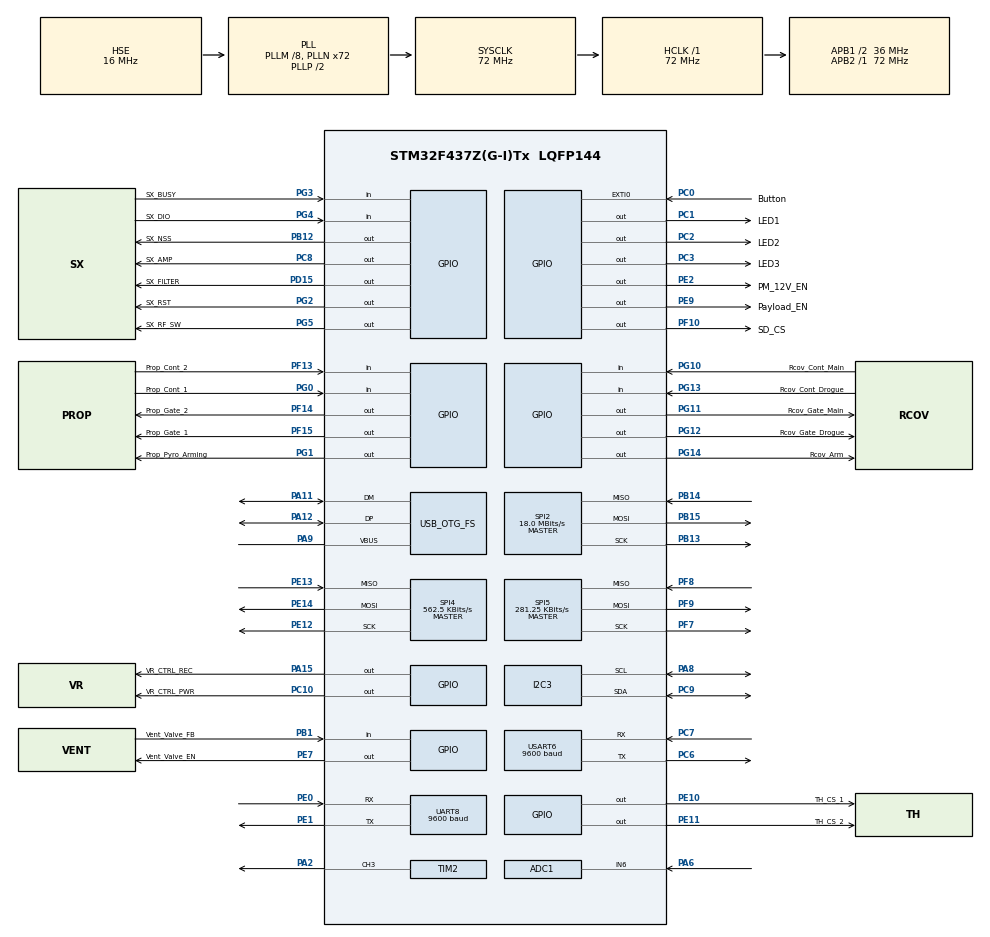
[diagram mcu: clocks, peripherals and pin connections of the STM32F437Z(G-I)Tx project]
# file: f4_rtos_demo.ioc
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ADC1.Channel-0\#ChannelRegularConversion=ADC_CHANNEL_6
ADC1.NbrOfConversionFlag=1
ADC1.Rank-0\#ChannelRegularConversion=1
ADC1.SamplingTime-0\#ChannelRegularConversion=ADC_SAMPLETIME_480CYCLES
ADC1.master=1
FREERTOS.BinarySemaphores01=mutex,Dynamic,NULL
FREERTOS.Tasks01=printSensors,24,1024,printSensorsFunc,Default,NULL,Dynamic,NULL,NULL;pollSensors,24,1024,pollSensorsFunc,Default,NULL,Dynamic,NULL,NULL;saveData,24,1024,saveDataFunc,Default,NULL,Dynamic,NULL,NULL;ejection,40,1024,ejectionFunc,Default,NULL,Dynamic,NULL,NULL;transmitData,24,1024,transmitDataFunc,Default,NULL,Dynamic,NULL,NULL
FREERTOS.configTOTAL_HEAP_SIZE=35000
FREERTOS.configUSE_NEWLIB_REENTRANT=1
Mcu.Family=STM32F4
Mcu.Name=STM32F437Z(G-I)Tx
Mcu.Package=LQFP144
NVIC.EXTI0_IRQn=true\:5\:0\:false\:false\:true\:true\:true\:true
NVIC.OTG_FS_IRQn=true\:5\:0\:false\:false\:true\:true\:false\:true
NVIC.PriorityGroup=NVIC_PRIORITYGROUP_4
NVIC.TIM2_IRQn=true\:5\:0\:false\:false\:true\:true\:true\:true
NVIC.TIM6_DAC_IRQn=true\:15\:0\:false\:false\:true\:false\:false\:true
NVIC.TimeBase=TIM6_DAC_IRQn
NVIC.TimeBaseIP=TIM6
PA11.Mode=Device_Only
PA11.Signal=USB_OTG_FS_DM
PA12.Mode=Device_Only
PA12.Signal=USB_OTG_FS_DP
PA15.GPIO_Label=VR_CTRL_REC
PA15.Signal=GPIO_Output
PA2.Signal=S_TIM2_CH3
PA6.Signal=ADCx_IN6
PA8.Mode=I2C
PA8.Signal=I2C3_SCL
PA9.Mode=Activate_VBUS
PA9.Signal=USB_OTG_FS_VBUS
PB1.GPIO_Label=Vent_Valve_FB
PB1.Signal=GPIO_Input
PB12.GPIO_Label=SX_NSS
PB12.Signal=GPIO_Output
PB13.Mode=Full_Duplex_Master
PB13.Signal=SPI2_SCK
PB14.Mode=Full_Duplex_Master
PB14.Signal=SPI2_MISO
PB15.Mode=Full_Duplex_Master
PB15.Signal=SPI2_MOSI
PC0.GPIO_Label=Button
PC0.Signal=GPXTI0
PC1.GPIO_Label=LED1
PC1.Signal=GPIO_Output
PC10.GPIO_Label=VR_CTRL_PWR
PC10.Signal=GPIO_Output
PC14/OSC32_IN.Mode=LSE-External-Oscillator
PC14/OSC32_IN.Signal=RCC_OSC32_IN
PC15/OSC32_OUT.Mode=LSE-External-Oscillator
PC15/OSC32_OUT.Signal=RCC_OSC32_OUT
PC2.GPIO_Label=LED2
PC2.Signal=GPIO_Output
PC3.GPIO_Label=LED3
PC3.Signal=GPIO_Output
PC6.Mode=Asynchronous
PC6.Signal=USART6_TX
PC7.Mode=Asynchronous
PC7.Signal=USART6_RX
PC8.GPIO_Label=SX_AMP
PC8.Signal=GPIO_Output
PC9.Mode=I2C
PC9.Signal=I2C3_SDA
PD15.GPIO_Label=SX_FILTER
PD15.Signal=GPIO_Output
PE0.Mode=Asynchronous
PE0.Signal=UART8_RX
PE1.Mode=Asynchronous
PE1.Signal=UART8_TX
PE10.GPIO_Label=TH_CS_1
PE10.Signal=GPIO_Output
PE11.GPIO_Label=TH_CS_2
PE11.Signal=GPIO_Output
PE12.Mode=Full_Duplex_Master
PE12.Signal=SPI4_SCK
PE13.Mode=Full_Duplex_Master
PE13.Signal=SPI4_MISO
PE14.Mode=Full_Duplex_Master
PE14.Signal=SPI4_MOSI
PE2.GPIO_Label=PM_12V_EN
PE2.Signal=GPIO_Output
PE7.GPIO_Label=Vent_Valve_EN
PE7.Signal=GPIO_Output
PE9.GPIO_Label=Payload_EN
PE9.Signal=GPIO_Output
PF10.GPIO_Label=SD_CS
PF10.GPIO_PuPd=GPIO_PULLUP
PF10.Signal=GPIO_Output
PF13.GPIO_Label=Prop_Cont_2
PF13.Signal=GPIO_Input
PF14.GPIO_Label=Prop_Gate_2
PF14.Signal=GPIO_Output
PF15.GPIO_Label=Prop_Gate_1
PF15.Signal=GPIO_Output
PF7.GPIO_PuPd=GPIO_PULLUP
PF7.Mode=Full_Duplex_Master
PF7.Signal=SPI5_SCK
PF8.GPIO_PuPd=GPIO_PULLUP
PF8.Mode=Full_Duplex_Master
PF8.Signal=SPI5_MISO
PF9.GPIO_PuPd=GPIO_PULLUP
PF9.Mode=Full_Duplex_Master
PF9.Signal=SPI5_MOSI
PG0.GPIO_Label=Prop_Cont_1
PG0.Signal=GPIO_Input
PG1.GPIO_Label=Prop_Pyro_Arming
PG1.Signal=GPIO_Output
PG10.GPIO_Label=Rcov_Cont_Main
PG10.Signal=GPIO_Input
PG11.GPIO_Label=Rcov_Gate_Main
PG11.Signal=GPIO_Output
PG12.GPIO_Label=Rcov_Gate_Drogue
PG12.Signal=GPIO_Output
PG13.GPIO_Label=Rcov_Cont_Drogue
PG13.Signal=GPIO_Input
PG14.GPIO_Label=Rcov_Arm
PG14.Signal=GPIO_Output
PG2.GPIO_Label=SX_RST
PG2.Signal=GPIO_Output
PG3.GPIO_Label=SX_BUSY
PG3.Signal=GPIO_Input
PG4.GPIO_Label=SX_DIO
PG4.Signal=GPIO_Input
PG5.GPIO_Label=SX_RF_SW
PG5.Signal=GPIO_Output
PH0/OSC_IN.Mode=HSE-External-Oscillator
PH0/OSC_IN.Signal=RCC_OSC_IN
PH1/OSC_OUT.Mode=HSE-External-Oscillator
PH1/OSC_OUT.Signal=RCC_OSC_OUT
ProjectManager.HeapSize=0x200
ProjectManager.StackSize=0x400
ProjectManager.TargetToolchain=STM32CubeIDE
RCC.48MHZClocksFreq_Value=48000000
RCC.AHBFreq_Value=72000000
RCC.APB1CLKDivider=RCC_HCLK_DIV2
RCC.APB1Freq_Value=36000000
RCC.APB1TimFreq_Value=72000000
RCC.APB2Freq_Value=72000000
RCC.APB2TimFreq_Value=72000000
RCC.CortexFreq_Value=72000000
RCC.HCLKFreq_Value=72000000
RCC.HSE_VALUE=16000000
RCC.HSI_VALUE=16000000
RCC.PLLM=8
RCC.PLLN=72
RCC.PLLQ=3
RCC.SYSCLKFreq_VALUE=72000000
RCC.SYSCLKSource=RCC_SYSCLKSOURCE_PLLCLK
RCC.VCOOutputFreq_Value=144000000
SH.ADCx_IN6.0=ADC1_IN6,IN6
SH.S_TIM2_CH3.0=TIM2_CH3,PWM Generation3 CH3
SPI2.CalculateBaudRate=18.0 MBits/s
SPI2.Direction=SPI_DIRECTION_2LINES
SPI2.Mode=SPI_MODE_MASTER
SPI2.VirtualType=VM_MASTER
SPI4.BaudRatePrescaler=SPI_BAUDRATEPRESCALER_128
SPI4.CalculateBaudRate=562.5 KBits/s
SPI4.Direction=SPI_DIRECTION_2LINES
SPI4.Mode=SPI_MODE_MASTER
SPI4.VirtualType=VM_MASTER
SPI5.BaudRatePrescaler=SPI_BAUDRATEPRESCALER_256
SPI5.CalculateBaudRate=281.25 KBits/s
SPI5.Direction=SPI_DIRECTION_2LINES
SPI5.Mode=SPI_MODE_MASTER
SPI5.VirtualType=VM_MASTER
TIM2.Channel-PWM\ Generation3\ CH3=TIM_CHANNEL_3
TIM2.Period=1000
TIM2.Prescaler=50
TIM2.Pulse-PWM\ Generation3\ CH3=100
TIM2.TIM_MasterOutputTrigger=TIM_TRGO_UPDATE
UART8.BaudRate=9600
UART8.VirtualMode=Asynchronous
USART6.BaudRate=9600
USART6.VirtualMode=VM_ASYNC
USB_DEVICE.CLASS_NAME_FS=CDC
USB_DEVICE.VirtualMode-CDC_FS=Cdc
USB_DEVICE.VirtualModeFS=Cdc_FS
USB_OTG_FS.VirtualMode=Device_Only
VP_FATFS_VS_Generic.Mode=User_defined
VP_FREERTOS_VS_CMSIS_V2.Mode=CMSIS_V2
VP_SYS_VS_tim6.Mode=TIM6
VP_TIM2_VS_ClockSourceINT.Mode=Internal
VP_USB_DEVICE_VS_USB_DEVICE_CDC_FS.Mode=CDC_FS
board=custom

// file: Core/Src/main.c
/* USER CODE BEGIN Header */
/**
  ******************************************************************************
  * @file           : main.c
  * @brief          : Main program body
  ******************************************************************************
  * @attention
  *
  * <h2><center>&copy; Copyright (c) 2021 STMicroelectronics.
  * All rights reserved.</center></h2>
  *
  * This software component is licensed by ST under Ultimate Liberty license
  * SLA0044, the "License"; You may not use this file except in compliance with
  * the License. You may obtain a copy of the License at:
  *                             www.st.com/SLA0044
  *
  ******************************************************************************
  */
/* USER CODE END Header */
#include "main.h"
#include "cmsis_os.h"
#include "fatfs.h"
#include "usb_device.h"
#include "usb_device.h"

/* USER CODE BEGIN Includes */
#include "usbd_cdc_if.h"
#include "string.h"
#include "i2c_sensor_functions.h"
#include "sd_card.h"
#include "semphr.h"
#include "gps.h"
#include "MAX31855.h"
#include "sx126x.h"

/* USER CODE END Includes */

/* USER CODE BEGIN PM */
stmdev_ctx_t dev_ctx_lsm;
stmdev_ctx_t dev_ctx_lps;
float acceleration[] = {0, 0, 0};
float angular_rate[]= {0, 0, 0};
float pressure = 0;
float temperature = 0;
double latitude;
double longitude;
float time;
int second = 0;
int minute = 0;

uint8_t tx_buffer[150];

FATFS FatFs; 	//Fatfs handle
FIL fil; 		//File handle
FRESULT fres; //Result after operations
char filename[13];
uint8_t writeBuf[1000];
UINT bytesWrote;
/* USER CODE END PM */

ADC_HandleTypeDef hadc1;

I2C_HandleTypeDef hi2c3;

SPI_HandleTypeDef hspi2;
SPI_HandleTypeDef hspi4;
SPI_HandleTypeDef hspi5;

TIM_HandleTypeDef htim2;

UART_HandleTypeDef huart8;
UART_HandleTypeDef huart6;

/* Definitions for printSensors */
osThreadId_t printSensorsHandle;
const osThreadAttr_t printSensors_attributes = {
  .name = "printSensors",
  .stack_size = 1024 * 4,
  .priority = (osPriority_t) osPriorityNormal,
};
/* Definitions for pollSensors */
osThreadId_t pollSensorsHandle;
const osThreadAttr_t pollSensors_attributes = {
  .name = "pollSensors",
  .stack_size = 1024 * 4,
  .priority = (osPriority_t) osPriorityNormal,
};
/* Definitions for saveData */
osThreadId_t saveDataHandle;
const osThreadAttr_t saveData_attributes = {
  .name = "saveData",
  .stack_size = 1024 * 4,
  .priority = (osPriority_t) osPriorityNormal,
};
/* Definitions for ejection */
osThreadId_t ejectionHandle;
const osThreadAttr_t ejection_attributes = {
  .name = "ejection",
  .stack_size = 1024 * 4,
  .priority = (osPriority_t) osPriorityHigh,
};
/* Definitions for transmitData */
osThreadId_t transmitDataHandle;
const osThreadAttr_t transmitData_attributes = {
  .name = "transmitData",
  .stack_size = 1024 * 4,
  .priority = (osPriority_t) osPriorityNormal,
};
/* Definitions for mutex */
osSemaphoreId_t mutexHandle;
const osSemaphoreAttr_t mutex_attributes = {
  .name = "mutex"
};

void SystemClock_Config(void);
static void MX_GPIO_Init(void);
static void MX_ADC1_Init(void);
static void MX_SPI4_Init(void);
static void MX_TIM2_Init(void);
static void MX_SPI5_Init(void);
static void MX_I2C3_Init(void);
static void MX_USART6_UART_Init(void);
static void MX_UART8_Init(void);
static void MX_SPI2_Init(void);
void printSensorsFunc(void *argument);
void pollSensorsFunc(void *argument);
void saveDataFunc(void *argument);
void ejectionFunc(void *argument);
void transmitDataFunc(void *argument);

/* USER CODE BEGIN PFP */
// LSM6DSR functions
extern stmdev_ctx_t lsm6dsr_init(void);
extern void get_acceleration(stmdev_ctx_t dev_ctx, float *acceleration_mg);
extern void get_angvelocity(stmdev_ctx_t dev_ctx, float *angular_rate_mdps);
// LPS22HH functions
extern stmdev_ctx_t lps22hh_init(void);
extern void get_pressure(stmdev_ctx_t dev_ctx,  float *pressure);
extern void get_temperature(stmdev_ctx_t dev_ctx,  float *temperature);

void GPS_Poll(double*, double*, float*);
/* USER CODE END PFP */

int main(void)
{

  /* MCU Configuration--------------------------------------------------------*/

  /* Reset of all peripherals, Initializes the Flash interface and the Systick. */
  HAL_Init();

  /* Configure the system clock */
  SystemClock_Config();

  /* Initialize all configured peripherals */
  MX_GPIO_Init();
  MX_ADC1_Init();
  MX_SPI4_Init();
  MX_TIM2_Init();
  MX_SPI5_Init();
  MX_FATFS_Init();
  MX_I2C3_Init();
  MX_USART6_UART_Init();
  MX_UART8_Init();
  MX_SPI2_Init();
  /* USER CODE BEGIN 2 */
  // reset LEDs
  HAL_GPIO_WritePin(LED1_GPIO_Port, LED1_Pin, RESET);
  HAL_GPIO_WritePin(LED2_GPIO_Port, LED2_Pin, RESET);
  HAL_GPIO_WritePin(LED3_GPIO_Port, LED3_Pin, RESET);

  // reset recovery pyro pins
  HAL_GPIO_WritePin(Rcov_Arm_GPIO_Port, Rcov_Arm_Pin, RESET);
  HAL_GPIO_WritePin(Rcov_Gate_Drogue_GPIO_Port, Rcov_Gate_Drogue_Pin, RESET);
  HAL_GPIO_WritePin(Rcov_Gate_Main_GPIO_Port, Rcov_Gate_Main_Pin, RESET);

  // reset prop pyro pins
  HAL_GPIO_WritePin(Prop_Pyro_Arming_GPIO_Port, Prop_Pyro_Arming_Pin, RESET);
  HAL_GPIO_WritePin(Prop_Gate_1_GPIO_Port, Prop_Gate_1_Pin, RESET);
  HAL_GPIO_WritePin(Prop_Gate_2_GPIO_Port, Prop_Gate_2_Pin, RESET);

  // reset 12 V buck converter enable pin (disable converter)
  HAL_GPIO_WritePin(PM_12V_EN_GPIO_Port, PM_12V_EN_Pin, RESET);
  HAL_GPIO_WritePin(Vent_Valve_EN_GPIO_Port, Vent_Valve_EN_Pin, RESET);

  // reset payload EN signal
  HAL_GPIO_WritePin(Payload_EN_GPIO_Port, Payload_EN_Pin, RESET);

  // set CS pin for thermocouple chip high
  //	HAL_GPIO_WritePin(TH_CS_1_GPIO_Port, TH_CS_1_Pin, SET);

  // set power off for VR
  HAL_GPIO_WritePin(VR_CTRL_PWR_GPIO_Port, VR_CTRL_PWR_Pin, RESET);
  HAL_GPIO_WritePin(VR_CTRL_REC_GPIO_Port, VR_CTRL_REC_Pin, RESET);

  dev_ctx_lsm = lsm6dsl_init();
  dev_ctx_lps = lps22hh_init();

  //SRAD Radio init
  set_hspi(hspi2);
  set_NSS_pin(SX_NSS_GPIO_Port, SX_NSS_Pin);
  set_BUSY_pin(SX_BUSY_GPIO_Port, SX_BUSY_Pin);
  set_NRESET_pin(SX_RST_GPIO_Port, SX_RST_Pin);
  set_DIO1_pin(SX_DIO_GPIO_Port, SX_DIO_Pin);
  Tx_setup();

  sd_init_dynamic_filename("FC", "", filename);
  /* USER CODE END 2 */

  /* Init scheduler */
  osKernelInitialize();

  /* Create the semaphores(s) */
  /* creation of mutex */
  mutexHandle = osSemaphoreNew(1, 1, &mutex_attributes);

  /* Create the thread(s) */
  /* creation of printSensors */
  printSensorsHandle = osThreadNew(printSensorsFunc, NULL, &printSensors_attributes);

  /* creation of pollSensors */
  pollSensorsHandle = osThreadNew(pollSensorsFunc, NULL, &pollSensors_attributes);

  /* creation of saveData */
  saveDataHandle = osThreadNew(saveDataFunc, NULL, &saveData_attributes);

  /* creation of ejection */
  ejectionHandle = osThreadNew(ejectionFunc, NULL, &ejection_attributes);

  /* creation of transmitData */
  transmitDataHandle = osThreadNew(transmitDataFunc, NULL, &transmitData_attributes);

  /* Start scheduler */
  osKernelStart();

  /* We should never get here as control is now taken by the scheduler */
  /* Infinite loop */
  while (1)
  {

  }
}

void SystemClock_Config(void)
{
  RCC_OscInitTypeDef RCC_OscInitStruct = {0};
  RCC_ClkInitTypeDef RCC_ClkInitStruct = {0};

  /** Configure the main internal regulator output voltage
  */
  __HAL_RCC_PWR_CLK_ENABLE();
  __HAL_PWR_VOLTAGESCALING_CONFIG(PWR_REGULATOR_VOLTAGE_SCALE3);
  /** Initializes the RCC Oscillators according to the specified parameters
  * in the RCC_OscInitTypeDef structure.
  */
  RCC_OscInitStruct.OscillatorType = RCC_OSCILLATORTYPE_HSE;
  RCC_OscInitStruct.HSEState = RCC_HSE_ON;
  RCC_OscInitStruct.PLL.PLLState = RCC_PLL_ON;
  RCC_OscInitStruct.PLL.PLLSource = RCC_PLLSOURCE_HSE;
  RCC_OscInitStruct.PLL.PLLM = 8;
  RCC_OscInitStruct.PLL.PLLN = 72;
  RCC_OscInitStruct.PLL.PLLP = RCC_PLLP_DIV2;
  RCC_OscInitStruct.PLL.PLLQ = 3;
  if (HAL_RCC_OscConfig(&RCC_OscInitStruct) != HAL_OK)
  {
    Error_Handler();
  }
  /** Initializes the CPU, AHB and APB buses clocks
  */
  RCC_ClkInitStruct.ClockType = RCC_CLOCKTYPE_HCLK|RCC_CLOCKTYPE_SYSCLK
                              |RCC_CLOCKTYPE_PCLK1|RCC_CLOCKTYPE_PCLK2;
  RCC_ClkInitStruct.SYSCLKSource = RCC_SYSCLKSOURCE_PLLCLK;
  RCC_ClkInitStruct.AHBCLKDivider = RCC_SYSCLK_DIV1;
  RCC_ClkInitStruct.APB1CLKDivider = RCC_HCLK_DIV2;
  RCC_ClkInitStruct.APB2CLKDivider = RCC_HCLK_DIV1;

  if (HAL_RCC_ClockConfig(&RCC_ClkInitStruct, FLASH_LATENCY_2) != HAL_OK)
  {
    Error_Handler();
  }
}

static void MX_ADC1_Init(void)
{

  ADC_ChannelConfTypeDef sConfig = {0};

  /** Configure the global features of the ADC (Clock, Resolution, Data Alignment and number of conversion)
  */
  hadc1.Instance = ADC1;
  hadc1.Init.ClockPrescaler = ADC_CLOCK_SYNC_PCLK_DIV2;
  hadc1.Init.Resolution = ADC_RESOLUTION_12B;
  hadc1.Init.ScanConvMode = DISABLE;
  hadc1.Init.ContinuousConvMode = DISABLE;
  hadc1.Init.DiscontinuousConvMode = DISABLE;
  hadc1.Init.ExternalTrigConvEdge = ADC_EXTERNALTRIGCONVEDGE_NONE;
  hadc1.Init.ExternalTrigConv = ADC_SOFTWARE_START;
  hadc1.Init.DataAlign = ADC_DATAALIGN_RIGHT;
  hadc1.Init.NbrOfConversion = 1;
  hadc1.Init.DMAContinuousRequests = DISABLE;
  hadc1.Init.EOCSelection = ADC_EOC_SINGLE_CONV;
  if (HAL_ADC_Init(&hadc1) != HAL_OK)
  {
    Error_Handler();
  }
  /** Configure for the selected ADC regular channel its corresponding rank in the sequencer and its sample time.
  */
  sConfig.Channel = ADC_CHANNEL_6;
  sConfig.Rank = 1;
  sConfig.SamplingTime = ADC_SAMPLETIME_480CYCLES;
  if (HAL_ADC_ConfigChannel(&hadc1, &sConfig) != HAL_OK)
  {
    Error_Handler();
  }

}

static void MX_I2C3_Init(void)
{

  hi2c3.Instance = I2C3;
  hi2c3.Init.ClockSpeed = 100000;
  hi2c3.Init.DutyCycle = I2C_DUTYCYCLE_2;
  hi2c3.Init.OwnAddress1 = 0;
  hi2c3.Init.AddressingMode = I2C_ADDRESSINGMODE_7BIT;
  hi2c3.Init.DualAddressMode = I2C_DUALADDRESS_DISABLE;
  hi2c3.Init.OwnAddress2 = 0;
  hi2c3.Init.GeneralCallMode = I2C_GENERALCALL_DISABLE;
  hi2c3.Init.NoStretchMode = I2C_NOSTRETCH_DISABLE;
  if (HAL_I2C_Init(&hi2c3) != HAL_OK)
  {
    Error_Handler();
  }
  /** Configure Analogue filter
  */
  if (HAL_I2CEx_ConfigAnalogFilter(&hi2c3, I2C_ANALOGFILTER_ENABLE) != HAL_OK)
  {
    Error_Handler();
  }
  /** Configure Digital filter
  */
  if (HAL_I2CEx_ConfigDigitalFilter(&hi2c3, 0) != HAL_OK)
  {
    Error_Handler();
  }

}

static void MX_SPI2_Init(void)
{

  /* SPI2 parameter configuration*/
  hspi2.Instance = SPI2;
  hspi2.Init.Mode = SPI_MODE_MASTER;
  hspi2.Init.Direction = SPI_DIRECTION_2LINES;
  hspi2.Init.DataSize = SPI_DATASIZE_8BIT;
  hspi2.Init.CLKPolarity = SPI_POLARITY_LOW;
  hspi2.Init.CLKPhase = SPI_PHASE_1EDGE;
  hspi2.Init.NSS = SPI_NSS_SOFT;
  hspi2.Init.BaudRatePrescaler = SPI_BAUDRATEPRESCALER_2;
  hspi2.Init.FirstBit = SPI_FIRSTBIT_MSB;
  hspi2.Init.TIMode = SPI_TIMODE_DISABLE;
  hspi2.Init.CRCCalculation = SPI_CRCCALCULATION_DISABLE;
  hspi2.Init.CRCPolynomial = 10;
  if (HAL_SPI_Init(&hspi2) != HAL_OK)
  {
    Error_Handler();
  }

}

static void MX_SPI4_Init(void)
{

  /* SPI4 parameter configuration*/
  hspi4.Instance = SPI4;
  hspi4.Init.Mode = SPI_MODE_MASTER;
  hspi4.Init.Direction = SPI_DIRECTION_2LINES;
  hspi4.Init.DataSize = SPI_DATASIZE_8BIT;
  hspi4.Init.CLKPolarity = SPI_POLARITY_LOW;
  hspi4.Init.CLKPhase = SPI_PHASE_1EDGE;
  hspi4.Init.NSS = SPI_NSS_SOFT;
  hspi4.Init.BaudRatePrescaler = SPI_BAUDRATEPRESCALER_128;
  hspi4.Init.FirstBit = SPI_FIRSTBIT_MSB;
  hspi4.Init.TIMode = SPI_TIMODE_DISABLE;
  hspi4.Init.CRCCalculation = SPI_CRCCALCULATION_DISABLE;
  hspi4.Init.CRCPolynomial = 10;
  if (HAL_SPI_Init(&hspi4) != HAL_OK)
  {
    Error_Handler();
  }

}

static void MX_SPI5_Init(void)
{

  /* SPI5 parameter configuration*/
  hspi5.Instance = SPI5;
  hspi5.Init.Mode = SPI_MODE_MASTER;
  hspi5.Init.Direction = SPI_DIRECTION_2LINES;
  hspi5.Init.DataSize = SPI_DATASIZE_8BIT;
  hspi5.Init.CLKPolarity = SPI_POLARITY_LOW;
  hspi5.Init.CLKPhase = SPI_PHASE_1EDGE;
  hspi5.Init.NSS = SPI_NSS_SOFT;
  hspi5.Init.BaudRatePrescaler = SPI_BAUDRATEPRESCALER_256;
  hspi5.Init.FirstBit = SPI_FIRSTBIT_MSB;
  hspi5.Init.TIMode = SPI_TIMODE_DISABLE;
  hspi5.Init.CRCCalculation = SPI_CRCCALCULATION_DISABLE;
  hspi5.Init.CRCPolynomial = 10;
  if (HAL_SPI_Init(&hspi5) != HAL_OK)
  {
    Error_Handler();
  }

}

static void MX_TIM2_Init(void)
{

  TIM_ClockConfigTypeDef sClockSourceConfig = {0};
  TIM_MasterConfigTypeDef sMasterConfig = {0};
  TIM_OC_InitTypeDef sConfigOC = {0};

  htim2.Instance = TIM2;
  htim2.Init.Prescaler = 50;
  htim2.Init.CounterMode = TIM_COUNTERMODE_UP;
  htim2.Init.Period = 1000;
  htim2.Init.ClockDivision = TIM_CLOCKDIVISION_DIV1;
  htim2.Init.AutoReloadPreload = TIM_AUTORELOAD_PRELOAD_DISABLE;
  if (HAL_TIM_Base_Init(&htim2) != HAL_OK)
  {
    Error_Handler();
  }
  sClockSourceConfig.ClockSource = TIM_CLOCKSOURCE_INTERNAL;
  if (HAL_TIM_ConfigClockSource(&htim2, &sClockSourceConfig) != HAL_OK)
  {
    Error_Handler();
  }
  if (HAL_TIM_PWM_Init(&htim2) != HAL_OK)
  {
    Error_Handler();
  }
  sMasterConfig.MasterOutputTrigger = TIM_TRGO_UPDATE;
  sMasterConfig.MasterSlaveMode = TIM_MASTERSLAVEMODE_DISABLE;
  if (HAL_TIMEx_MasterConfigSynchronization(&htim2, &sMasterConfig) != HAL_OK)
  {
    Error_Handler();
  }
  sConfigOC.OCMode = TIM_OCMODE_PWM1;
  sConfigOC.Pulse = 100;
  sConfigOC.OCPolarity = TIM_OCPOLARITY_HIGH;
  sConfigOC.OCFastMode = TIM_OCFAST_DISABLE;
  if (HAL_TIM_PWM_ConfigChannel(&htim2, &sConfigOC, TIM_CHANNEL_3) != HAL_OK)
  {
    Error_Handler();
  }
  HAL_TIM_MspPostInit(&htim2);

}

static void MX_UART8_Init(void)
{

  huart8.Instance = UART8;
  huart8.Init.BaudRate = 9600;
  huart8.Init.WordLength = UART_WORDLENGTH_8B;
  huart8.Init.StopBits = UART_STOPBITS_1;
  huart8.Init.Parity = UART_PARITY_NONE;
  huart8.Init.Mode = UART_MODE_TX_RX;
  huart8.Init.HwFlowCtl = UART_HWCONTROL_NONE;
  huart8.Init.OverSampling = UART_OVERSAMPLING_16;
  if (HAL_UART_Init(&huart8) != HAL_OK)
  {
    Error_Handler();
  }

}

static void MX_USART6_UART_Init(void)
{

  huart6.Instance = USART6;
  huart6.Init.BaudRate = 9600;
  huart6.Init.WordLength = UART_WORDLENGTH_8B;
  huart6.Init.StopBits = UART_STOPBITS_1;
  huart6.Init.Parity = UART_PARITY_NONE;
  huart6.Init.Mode = UART_MODE_TX_RX;
  huart6.Init.HwFlowCtl = UART_HWCONTROL_NONE;
  huart6.Init.OverSampling = UART_OVERSAMPLING_16;
  if (HAL_UART_Init(&huart6) != HAL_OK)
  {
    Error_Handler();
  }

}

static void MX_GPIO_Init(void)
{
  GPIO_InitTypeDef GPIO_InitStruct = {0};

  /* GPIO Ports Clock Enable */
  __HAL_RCC_GPIOE_CLK_ENABLE();
  __HAL_RCC_GPIOC_CLK_ENABLE();
  __HAL_RCC_GPIOF_CLK_ENABLE();
  __HAL_RCC_GPIOH_CLK_ENABLE();
  __HAL_RCC_GPIOA_CLK_ENABLE();
  __HAL_RCC_GPIOB_CLK_ENABLE();
  __HAL_RCC_GPIOG_CLK_ENABLE();
  __HAL_RCC_GPIOD_CLK_ENABLE();

  /*Configure GPIO pin Output Level */
  HAL_GPIO_WritePin(GPIOE, PM_12V_EN_Pin|Vent_Valve_EN_Pin|Payload_EN_Pin|TH_CS_1_Pin
                          |TH_CS_2_Pin, GPIO_PIN_RESET);

  /*Configure GPIO pin Output Level */
  HAL_GPIO_WritePin(GPIOF, SD_CS_Pin|Prop_Gate_2_Pin|Prop_Gate_1_Pin, GPIO_PIN_RESET);

  /*Configure GPIO pin Output Level */
  HAL_GPIO_WritePin(GPIOC, LED1_Pin|LED2_Pin|LED3_Pin|SX_AMP_Pin
                          |VR_CTRL_PWR_Pin, GPIO_PIN_RESET);

  /*Configure GPIO pin Output Level */
  HAL_GPIO_WritePin(GPIOG, Prop_Pyro_Arming_Pin|SX_RST_Pin|SX_RF_SW_Pin|Rcov_Gate_Main_Pin
                          |Rcov_Gate_Drogue_Pin|Rcov_Arm_Pin, GPIO_PIN_RESET);

  /*Configure GPIO pin Output Level */
  HAL_GPIO_WritePin(SX_NSS_GPIO_Port, SX_NSS_Pin, GPIO_PIN_RESET);

  /*Configure GPIO pin Output Level */
  HAL_GPIO_WritePin(SX_FILTER_GPIO_Port, SX_FILTER_Pin, GPIO_PIN_RESET);

  /*Configure GPIO pin Output Level */
  HAL_GPIO_WritePin(VR_CTRL_REC_GPIO_Port, VR_CTRL_REC_Pin, GPIO_PIN_RESET);

  /*Configure GPIO pins : PM_12V_EN_Pin Vent_Valve_EN_Pin Payload_EN_Pin TH_CS_1_Pin
                           TH_CS_2_Pin */
  GPIO_InitStruct.Pin = PM_12V_EN_Pin|Vent_Valve_EN_Pin|Payload_EN_Pin|TH_CS_1_Pin
                          |TH_CS_2_Pin;
  GPIO_InitStruct.Mode = GPIO_MODE_OUTPUT_PP;
  GPIO_InitStruct.Pull = GPIO_NOPULL;
  GPIO_InitStruct.Speed = GPIO_SPEED_FREQ_LOW;
  HAL_GPIO_Init(GPIOE, &GPIO_InitStruct);

  /*Configure GPIO pin : SD_CS_Pin */
  GPIO_InitStruct.Pin = SD_CS_Pin;
  GPIO_InitStruct.Mode = GPIO_MODE_OUTPUT_PP;
  GPIO_InitStruct.Pull = GPIO_PULLUP;
  GPIO_InitStruct.Speed = GPIO_SPEED_FREQ_LOW;
  HAL_GPIO_Init(SD_CS_GPIO_Port, &GPIO_InitStruct);

  /*Configure GPIO pin : Button_Pin */
  GPIO_InitStruct.Pin = Button_Pin;
  GPIO_InitStruct.Mode = GPIO_MODE_IT_RISING;
  GPIO_InitStruct.Pull = GPIO_NOPULL;
  HAL_GPIO_Init(Button_GPIO_Port, &GPIO_InitStruct);

  /*Configure GPIO pins : LED1_Pin LED2_Pin LED3_Pin SX_AMP_Pin
                           VR_CTRL_PWR_Pin */
  GPIO_InitStruct.Pin = LED1_Pin|LED2_Pin|LED3_Pin|SX_AMP_Pin
                          |VR_CTRL_PWR_Pin;
  GPIO_InitStruct.Mode = GPIO_MODE_OUTPUT_PP;
  GPIO_InitStruct.Pull = GPIO_NOPULL;
  GPIO_InitStruct.Speed = GPIO_SPEED_FREQ_LOW;
  HAL_GPIO_Init(GPIOC, &GPIO_InitStruct);

  /*Configure GPIO pin : Vent_Valve_FB_Pin */
  GPIO_InitStruct.Pin = Vent_Valve_FB_Pin;
  GPIO_InitStruct.Mode = GPIO_MODE_INPUT;
  GPIO_InitStruct.Pull = GPIO_NOPULL;
  HAL_GPIO_Init(Vent_Valve_FB_GPIO_Port, &GPIO_InitStruct);

  /*Configure GPIO pin : Prop_Cont_2_Pin */
  GPIO_InitStruct.Pin = Prop_Cont_2_Pin;
  GPIO_InitStruct.Mode = GPIO_MODE_INPUT;
  GPIO_InitStruct.Pull = GPIO_NOPULL;
  HAL_GPIO_Init(Prop_Cont_2_GPIO_Port, &GPIO_InitStruct);

  /*Configure GPIO pins : Prop_Gate_2_Pin Prop_Gate_1_Pin */
  GPIO_InitStruct.Pin = Prop_Gate_2_Pin|Prop_Gate_1_Pin;
  GPIO_InitStruct.Mode = GPIO_MODE_OUTPUT_PP;
  GPIO_InitStruct.Pull = GPIO_NOPULL;
  GPIO_InitStruct.Speed = GPIO_SPEED_FREQ_LOW;
  HAL_GPIO_Init(GPIOF, &GPIO_InitStruct);

  /*Configure GPIO pins : Prop_Cont_1_Pin SX_BUSY_Pin SX_DIO_Pin Rcov_Cont_Main_Pin
                           Rcov_Cont_Drogue_Pin */
  GPIO_InitStruct.Pin = Prop_Cont_1_Pin|SX_BUSY_Pin|SX_DIO_Pin|Rcov_Cont_Main_Pin
                          |Rcov_Cont_Drogue_Pin;
  GPIO_InitStruct.Mode = GPIO_MODE_INPUT;
  GPIO_InitStruct.Pull = GPIO_NOPULL;
  HAL_GPIO_Init(GPIOG, &GPIO_InitStruct);

  /*Configure GPIO pins : Prop_Pyro_Arming_Pin SX_RST_Pin SX_RF_SW_Pin Rcov_Gate_Main_Pin
                           Rcov_Gate_Drogue_Pin Rcov_Arm_Pin */
  GPIO_InitStruct.Pin = Prop_Pyro_Arming_Pin|SX_RST_Pin|SX_RF_SW_Pin|Rcov_Gate_Main_Pin
                          |Rcov_Gate_Drogue_Pin|Rcov_Arm_Pin;
  GPIO_InitStruct.Mode = GPIO_MODE_OUTPUT_PP;
  GPIO_InitStruct.Pull = GPIO_NOPULL;
  GPIO_InitStruct.Speed = GPIO_SPEED_FREQ_LOW;
  HAL_GPIO_Init(GPIOG, &GPIO_InitStruct);

  /*Configure GPIO pin : SX_NSS_Pin */
  GPIO_InitStruct.Pin = SX_NSS_Pin;
  GPIO_InitStruct.Mode = GPIO_MODE_OUTPUT_PP;
  GPIO_InitStruct.Pull = GPIO_NOPULL;
  GPIO_InitStruct.Speed = GPIO_SPEED_FREQ_LOW;
  HAL_GPIO_Init(SX_NSS_GPIO_Port, &GPIO_InitStruct);

  /*Configure GPIO pin : SX_FILTER_Pin */
  GPIO_InitStruct.Pin = SX_FILTER_Pin;
  GPIO_InitStruct.Mode = GPIO_MODE_OUTPUT_PP;
  GPIO_InitStruct.Pull = GPIO_NOPULL;
  GPIO_InitStruct.Speed = GPIO_SPEED_FREQ_LOW;
  HAL_GPIO_Init(SX_FILTER_GPIO_Port, &GPIO_InitStruct);

  /*Configure GPIO pin : VR_CTRL_REC_Pin */
  GPIO_InitStruct.Pin = VR_CTRL_REC_Pin;
  GPIO_InitStruct.Mode = GPIO_MODE_OUTPUT_PP;
  GPIO_InitStruct.Pull = GPIO_NOPULL;
  GPIO_InitStruct.Speed = GPIO_SPEED_FREQ_LOW;
  HAL_GPIO_Init(VR_CTRL_REC_GPIO_Port, &GPIO_InitStruct);

  /* EXTI interrupt init*/
  HAL_NVIC_SetPriority(EXTI0_IRQn, 5, 0);
  HAL_NVIC_EnableIRQ(EXTI0_IRQn);

}

void printSensorsFunc(void *argument)
{
  /* init code for USB_DEVICE */
  MX_USB_DEVICE_Init();
  /* USER CODE BEGIN 5 */
  /* Infinite loop */
  for(;;)
  {
	//myprintf("ACCEL: %f, %f, %f\r\n", acceleration[0], acceleration[1], acceleration[2]);
	//myprintf("GPS: %lf, %lf, %f\r\n", latitude, longitude, time);
	//xSemaphoreTake(mutexHandle,500);
	//GPS_Poll(&latitude, &longitude, &time);
	//myprintf("GPS: %lf, %lf, %f\r\n", latitude, longitude, time);
	//myprintf("Pressure: %f, Temperature %f\r\n", pressure, temperature);
	//myprintf("Acceleration: %f,%f,%f\r\n", acceleration[0], acceleration[1], acceleration[2]);
	//myprintf("IN angular_rate: %f,%f,%f\r\n", angular_rate[0], angular_rate[1], angular_rate[2]);
	//xSemaphoreGive(mutexHandle);
    osDelay(1000);
  }
  /* USER CODE END 5 */
}

void pollSensorsFunc(void *argument)
{
  /* USER CODE BEGIN pollSensorsFunc */
  /* Infinite loop */
  for(;;)
  {
	get_pressure(dev_ctx_lps, &pressure);
	get_temperature(dev_ctx_lps,  &temperature);
	get_acceleration(dev_ctx_lsm, acceleration);
	get_angvelocity(dev_ctx_lsm, angular_rate);
	//xSemaphoreTake(mutexHandle,500);
	//GPS_Poll(&latitude, &longitude, &time);
	//xSemaphoreGive(mutexHandle);
    osDelay(100);
  }
  /* USER CODE END pollSensorsFunc */
}

void saveDataFunc(void *argument)
{
  /* USER CODE BEGIN saveDataFunc */
  /* Infinite loop */

  for(;;)
  {
	//write data
	sd_open_file(&filename);
	sprintf((char*)writeBuf, "Data: %f, %f, %d, %d\r\n", pressure, temperature, minute, second);
	sd_write(&fil, writeBuf);
	f_close(&fil);
    osDelay(50);
  }
  /* USER CODE END saveDataFunc */
}

void ejectionFunc(void *argument)
{
  /* USER CODE BEGIN ejectionFunc */
  /* Infinite loop */
  for(;;)
  {
    osDelay(1000);
  }
  /* USER CODE END ejectionFunc */
}

void transmitDataFunc(void *argument)
{
  /* USER CODE BEGIN transmitDataFunc */
  /* Infinite loop */
  for(;;)
  {
	//S,ACCx,ACCy,ACCz,GYROx,GYROy,GYROz,PRESSURE,LAT,LONG,MIN,SEC,SUBSEC,STATE,CONT,E
	second++;
	if(second == 60){
		second = 0;
		minute++;
	}
	sprintf((char*)tx_buffer, "S,%f,%f,%f,%f,%f,%f,%f,%lf,%lf,%d,%d,%d,%d,%d,E",acceleration[0],acceleration[1],acceleration[2],angular_rate[0],angular_rate[1],angular_rate[2],pressure,latitude,longitude,minute,second,0,0,0);
	//TxProtocol(tx_buffer,150);
	HAL_UART_Transmit(&huart3, tx_buffer, sizeof(char)*strlen(tx_buffer), HAL_MAX_DELAY);
    osDelay(1);
  }
  /* USER CODE END transmitDataFunc */
}

void HAL_TIM_PeriodElapsedCallback(TIM_HandleTypeDef *htim)
{
  if (htim->Instance == TIM6) {
    HAL_IncTick();
  }
}

void Error_Handler(void)
{
  __disable_irq();
  while (1)
  {
  }
}

/************************ (C) COPYRIGHT STMicroelectronics *****END OF FILE****/
